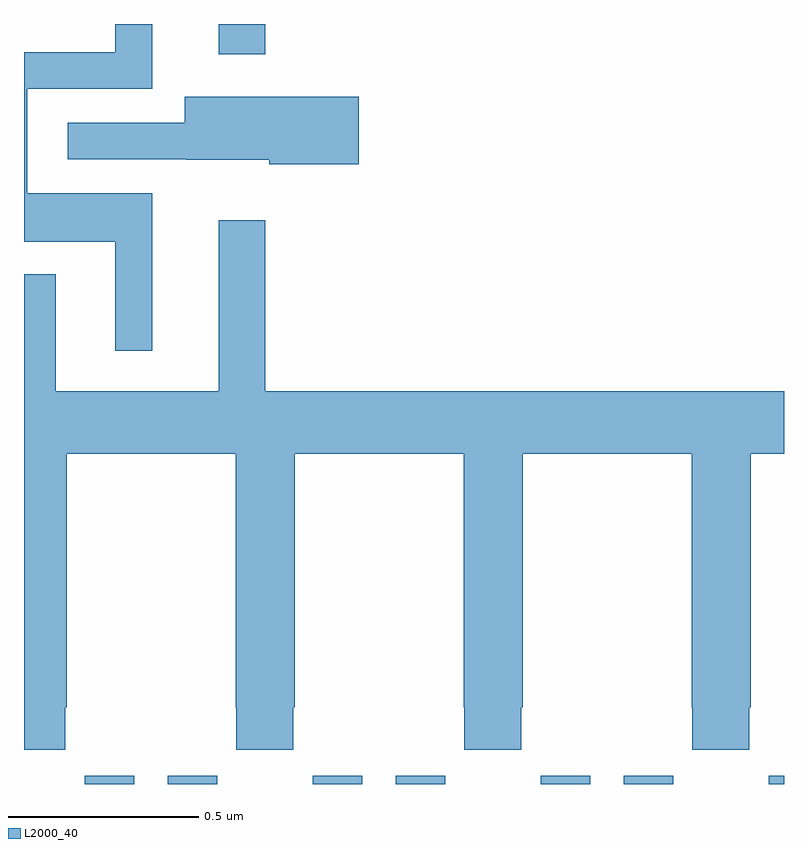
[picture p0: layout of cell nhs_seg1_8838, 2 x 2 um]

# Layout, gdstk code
import gdstk
lib = gdstk.Library(unit=1e-6, precision=1e-09)
def R(c, l, rs):  # rectangles x0, y0, x1, y1
    for r in rs: c.add(gdstk.rectangle(r[:2], r[2:], *l))
def P(c, l, *ps):  # polygons
    for p in ps: c.add(gdstk.Polygon(p, *l))
L2000_40 = (2000, 40)

nhs_seg1_8838 = lib.new_cell('nhs_seg1_8838')
R(nhs_seg1_8838, L2000_40, [(221.16,548.199,221.29,548.221), (221.378,548.199,221.508,548.221), (221.76,548.199,221.89,548.221), (221.978,548.199,222.108,548.221), (222.36,548.199,222.49,548.221), (222.578,548.199,222.708,548.221), (222.96,548.199,223,548.221), (221.513,550.119,221.635,550.199)])
P(nhs_seg1_8838, L2000_40, [(221.338,549.754),(221.008,549.754),(221.008,550.029),(221.338,550.029),(221.338,550.199),(221.24,550.199),(221.24,550.125),(221,550.125),(221,549.626),(221.24,549.626),(221.24,549.339),(221.338,549.339)],
  [(221.881,550.008),(221.423,550.008),(221.423,549.939),(221.115,549.939),(221.115,549.843),(221.427,549.843),(221.427,549.842),(221.646,549.842),(221.646,549.83),(221.881,549.83)],
  [(221.635,549.682),(221.513,549.682),(221.513,549.232),(221.083,549.232),(221.083,549.541),(221,549.541),(221,548.289),(221.109,548.289),(221.109,548.401),(221.112,548.401),(221.112,549.068),(221.557,549.068),(221.557,548.401),(221.559,548.401),(221.559,548.289),(221.709,548.289),(221.709,548.401),(221.712,548.401),(221.712,549.068),(222.157,549.068),(222.157,548.401),(222.159,548.401),(222.159,548.289),(222.309,548.289),(222.309,548.401),(222.312,548.401),(222.312,549.068),(222.757,549.068),(222.757,548.401),(222.759,548.401),(222.759,548.289),(222.909,548.289),(222.909,548.401),(222.912,548.401),(222.912,549.068),(223,549.068),(223,549.232),(221.635,549.232)])

lib.write_gds('nhs_seg1_8838.gds')
